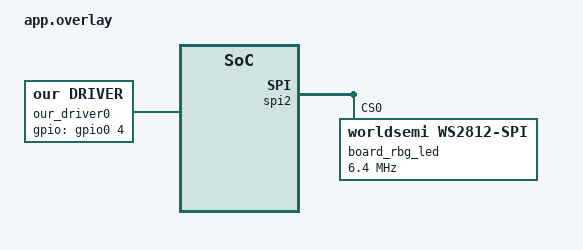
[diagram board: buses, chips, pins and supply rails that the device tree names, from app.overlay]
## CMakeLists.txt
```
cmake_minimum_required(VERSION 3.20.0)
list(APPEND BOARD_ROOT ${CMAKE_CURRENT_SOURCE_DIR})

list(APPEND DTS_ROOT ${CMAKE_CURRENT_SOURCE_DIR}/..)
find_package(Zephyr REQUIRED)
project(my_zephyr_app)

target_sources(app PRIVATE src/main.cpp)

add_subdirectory(drivers/our_driver)
```

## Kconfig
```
menuconfig LED_SUBSYSTEM
    bool "LED Subsystem"
    default y

if LED_SUBSYSTEM

    choice
        prompt "LED blink speed"
        default BLINK_SLEEP_1000MS

    config BLINK_SLEEP_250MS
        bool "Fast (250ms)"

    config BLINK_SLEEP_500MS
        bool "Quick (500ms)"

    config BLINK_SLEEP_1000MS
        bool "Medium (1s)"

    config BLINK_SLEEP_2000MS
        bool "Slow (2s)"

    endchoice

    config BLINK_SLEEP_TIME_MS  # use this in code
        int  # <-- No prompt = hidden!
        default 250  if BLINK_SLEEP_250MS
        default 500  if BLINK_SLEEP_500MS
        default 1000 if BLINK_SLEEP_1000MS
        default 2000 if BLINK_SLEEP_2000MS
        default 0

    menuconfig LED_ADVANCED
        bool "Advanced LED settings"
        default n

    if LED_ADVANCED

        config LED_BRIGHTNESS
            int "LED brightness (0-100)"
            default 100
            range 0 100

        config LED_FADE_DURATION_MS
            int "LED fade duration (0-5000)"
            default 500
            range 0 5000


    endif # LED_ADVANCED

    menu "Expert settings"
        visible if LED_ADVANCED



        config LED_DEBUG
            bool "Enable LED debugging"
            # Does NOT get depends on LED_ADVANCED!

        config LED_CUSTOM
            bool "Enable LED custom pattern"

    endmenu




endif # LED_SUBSYSTEM

source "Kconfig.zephyr"
```

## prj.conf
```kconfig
CONFIG_GPIO=y
CONFIG_LOG=y

CONFIG_LED_STRIP=y

# Choose ONE backend that matches your compatible string above:
CONFIG_WS2812_STRIP_SPI=y   # Use if compatible = "worldsemi,ws2812-spi"
# CONFIG_WS2812_STRIP_GPIO=y

CONFIG_OUR_DRIVER=y
CONFIG_SENSOR=y

CONFIG_SHELL=y
```

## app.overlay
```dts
#include <zephyr/dt-bindings/led/led.h>

&spi2 {
	/* Workaround to support WS2812 driver */
	line-idle-low;

	board_rbg_led: ws2812@0 {
		compatible = "worldsemi,ws2812-spi";

		/* SPI */
		reg = <0>; /* ignored, but necessary for SPI bindings */
		spi-max-frequency = <6400000>;

		/* WS2812 */
		chain-length = <1>; /* arbitrary; change at will */
		spi-cpha;
		spi-one-frame = <0xf0>; /* 11110000: 625 ns high and 625 ns low */
		spi-zero-frame = <0xc0>; /* 11000000: 312.5 ns high and 937.5 ns low */
		color-mapping = <LED_COLOR_ID_GREEN
				 LED_COLOR_ID_RED
				 LED_COLOR_ID_BLUE>;
	};
};

&pinctrl {
	spim2_default: spim2_default {
		group2 {
			pinmux = <SPIM2_MOSI_GPIO8>;
		};
	};
};

/ {
	aliases {
		app-led = &board_rbg_led;
	};

	our_driver0: our_driver {
		compatible = "our,driver";
		status = "okay";
		step = <2>;
		gpios = <&gpio0 4 GPIO_ACTIVE_HIGH>;
	};
};
```

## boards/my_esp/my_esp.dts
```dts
/*
 * Copyright (c) 2024 Espressif Systems (Shanghai) Co., Ltd.
 *
 * SPDX-License-Identifier: Apache-2.0
 */

/dts-v1/;

#include <espressif/esp32c3/esp32c3_wroom_n4.dtsi>
#include "esp32c3_devkitc-pinctrl.dtsi"
#include <zephyr/dt-bindings/input/input-event-codes.h>
#include <espressif/partitions_0x0_default.dtsi>
#include <zephyr/dt-bindings/led/led.h>


/ {
	model = "Espressif ESP32C3-DevkitC";
	compatible = "espressif,esp32c3";

	chosen {
		zephyr,sram = &sram1;
		zephyr,console = &uart0;
		zephyr,shell-uart = &uart0;
		zephyr,flash = &flash0;
		zephyr,code-partition = &slot0_partition;
		zephyr,bt-hci = &esp32_bt_hci;
	};

	aliases {
		sw0 = &user_button1;
		i2c-0 = &i2c0;
		watchdog0 = &wdt0;
		app-led = &board_rbg_led;

	};

	gpio_keys {
		compatible = "gpio-keys";
		user_button1: button_1 {
			label = "User SW1";
			gpios = <&gpio0 9 (GPIO_PULL_UP | GPIO_ACTIVE_LOW)>;
			zephyr,code = <INPUT_KEY_0>;
		};
	};
};

&uart0 {
	status = "okay";
	current-speed = <115200>;
	pinctrl-0 = <&uart0_default>;
	pinctrl-names = "default";
};

&usb_serial {
	/* requires resoldering of resistors on the board */
	status = "okay";
};

&i2c0 {
	status = "okay";
	clock-frequency = <I2C_BITRATE_STANDARD>;
	pinctrl-0 = <&i2c0_default>;
	pinctrl-names = "default";
};

&trng0 {
	status = "okay";
};

&spi2 {
	#address-cells = <1>;
	#size-cells = <0>;
	status = "okay";
	pinctrl-0 = <&spim2_default>;
	pinctrl-names = "default";
};

&gpio0 {
	status = "okay";
};

&wdt0 {
	status = "okay";
};

&timer0 {
	status = "disabled";
};

&timer1 {
	status = "disabled";
};

&twai {
	/* requires external CAN transceiver or jumper on RX and TX pins for loopback testing */
	status = "disabled";
	pinctrl-0 = <&twai_default>;
	pinctrl-names = "default";
};

&esp32_bt_hci {
	status = "okay";
};

&wifi {
	status = "okay";
};

&pinctrl {
	spim2_default: spim2_default {
		group2 {
			pinmux = <SPIM2_MOSI_GPIO8>;
		};
	};
};


&spi2 {
	/* Workaround to support WS2812 driver */
	line-idle-low;

	board_rbg_led: ws2812@0 {
		compatible = "worldsemi,ws2812-spi";

		/* SPI */
		reg = <0>; /* ignored, but necessary for SPI bindings */
		spi-max-frequency = <6400000>;

		/* WS2812 */
		chain-length = <1>; /* arbitrary; change at will */
		spi-cpha;
		spi-one-frame = <0xf0>; /* 11110000: 625 ns high and 625 ns low */
		spi-zero-frame = <0xc0>; /* 11000000: 312.5 ns high and 937.5 ns low */
		color-mapping = <LED_COLOR_ID_GREEN
				 LED_COLOR_ID_RED
				 LED_COLOR_ID_BLUE>;
	};
};
```

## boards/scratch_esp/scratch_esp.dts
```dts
/*
 * Copyright (c) 2024 Espressif Systems (Shanghai) Co., Ltd.
 *
 * SPDX-License-Identifier: Apache-2.0
 */

/dts-v1/;

#include <espressif/esp32c3/esp32c3_wroom_n4.dtsi>
#include "esp32c3_devkitc-pinctrl.dtsi"
#include <zephyr/dt-bindings/input/input-event-codes.h>
#include <espressif/partitions_0x0_default.dtsi>
#include <zephyr/dt-bindings/led/led.h>


/ {
	model = "Espressif ESP32C3-DevkitC";
	compatible = "espressif,esp32c3";

	chosen {
		zephyr,sram = &sram1;
		zephyr,console = &uart0;
		zephyr,shell-uart = &uart0;
		zephyr,flash = &flash0;
		zephyr,code-partition = &slot0_partition;
		zephyr,bt-hci = &esp32_bt_hci;
	};

	aliases {
		sw0 = &user_button1;
		i2c-0 = &i2c0;
		watchdog0 = &wdt0;

	};

	gpio_keys {
		compatible = "gpio-keys";
		user_button1: button_1 {
			label = "User SW1";
			gpios = <&gpio0 9 (GPIO_PULL_UP | GPIO_ACTIVE_LOW)>;
			zephyr,code = <INPUT_KEY_0>;
		};
	};
};

&uart0 {
	status = "okay";
	current-speed = <115200>;
	pinctrl-0 = <&uart0_default>;
	pinctrl-names = "default";
};

&usb_serial {
	/* requires resoldering of resistors on the board */
	status = "okay";
};

&i2c0 {
	status = "okay";
	clock-frequency = <I2C_BITRATE_STANDARD>;
	pinctrl-0 = <&i2c0_default>;
	pinctrl-names = "default";
};

&trng0 {
	status = "okay";
};

&spi2 {
	#address-cells = <1>;
	#size-cells = <0>;
	status = "okay";
	pinctrl-0 = <&spim2_default>;
	pinctrl-names = "default";
};

&gpio0 {
	status = "okay";
};

&wdt0 {
	status = "okay";
};

&timer0 {
	status = "disabled";
};

&timer1 {
	status = "disabled";
};

&twai {
	/* requires external CAN transceiver or jumper on RX and TX pins for loopback testing */
	status = "disabled";
	pinctrl-0 = <&twai_default>;
	pinctrl-names = "default";
};

&esp32_bt_hci {
	status = "okay";
};

&wifi {
	status = "okay";
};
```

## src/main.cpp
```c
#include <zephyr/drivers/gpio.h>
#include <zephyr/kernel.h>
#include <zephyr/logging/log.h>
#include <zephyr/drivers/led_strip.h>

#ifdef CONFIG_LED_SUBSYSTEM
#define SLEEP_TIME_MS CONFIG_BLINK_SLEEP_TIME_MS
#endif


#ifndef SLEEP_TIME_MS
#error "No sleep time for app"
#endif

/* The devicetree node identifier for the "led0" alias. */
#define STRIP_NODE DT_ALIAS(led_strip)
const struct device * strip = DEVICE_DT_GET(STRIP_NODE);

#define STRIP_NUM_PIXELS 1
struct led_rgb pixels[STRIP_NUM_PIXELS];

LOG_MODULE_REGISTER(main, LOG_LEVEL_INF);

static uint8_t get_led_level(void) {
#ifdef CONFIG_LED_ADVANCED
    uint16_t tmp = (uint16_t)255*(uint16_t)CONFIG_LED_BRIGHTNESS;
    return (uint8_t)(tmp/100);
#else
    return 255;
#endif
}

int main(void)
{
    bool led_state = true;

    if (!device_is_ready(strip)) return 0;

 // Set the first pixel to solid Red
    pixels[0].r = get_led_level();
    pixels[0].g = 0;
    pixels[0].b = 0;

    // Flush color array updates to the NeoPixels
    led_strip_update_rgb(strip, pixels, STRIP_NUM_PIXELS);


    while (1) {

        led_state = !led_state;

#ifdef CONFIG_LED_ADVANCED
        if (led_state) {
            pixels[0].r = led_state?get_led_level():0;
            pixels[0].g = 0;
            pixels[0].b = 0;
        } else {
            uint16_t fade_time = CONFIG_LED_FADE_DURATION_MS;
            uint8_t level = get_led_level();
            uint8_t fade_level_step = (level*100) / (fade_time);
            LOG_INF("time: %u level %u step %u", fade_time, level, fade_level_step);
            while (fade_time) {
                level -= fade_level_step;
                LOG_INF("new level %u", level);
                pixels[0].r = level;
                pixels[0].g = 0;
                pixels[0].b = 0;

                led_strip_update_rgb(strip, pixels, STRIP_NUM_PIXELS);

                k_msleep(100);
                if (fade_time > 100) {
                    fade_time -= 100;
                } else {
                    fade_time = 0;
                }
            }


        }

#else

        pixels[0].r = led_state?get_led_level():0;
        pixels[0].g = 0;
        pixels[0].b = 0;

        led_strip_update_rgb(strip, pixels, STRIP_NUM_PIXELS);

#endif
        LOG_INF("LED state: %s", led_state ? "ON" : "OFF");
        k_msleep(SLEEP_TIME_MS);
    }
    return 0;
}
```
